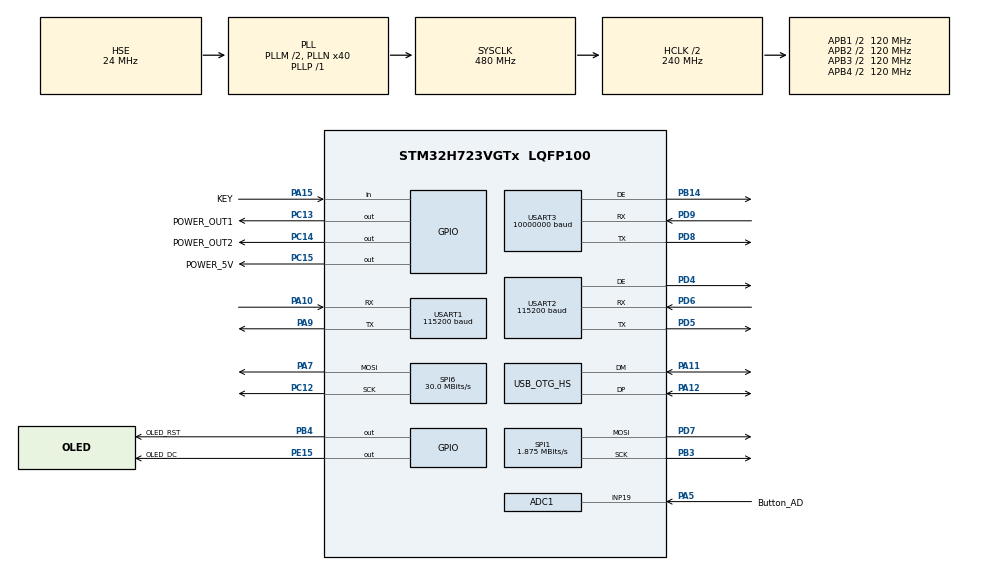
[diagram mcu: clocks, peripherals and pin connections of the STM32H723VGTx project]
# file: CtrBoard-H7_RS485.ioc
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ADC1.Channel-0\#ChannelRegularConversion=ADC_CHANNEL_19
ADC1.NbrOfConversionFlag=1
ADC1.OffsetNumber-0\#ChannelRegularConversion=ADC_OFFSET_NONE
ADC1.OffsetSignedSaturation-0\#ChannelRegularConversion=DISABLE
ADC1.Rank-0\#ChannelRegularConversion=1
ADC1.SamplingTime-0\#ChannelRegularConversion=ADC_SAMPLETIME_1CYCLE_5
ADC1.master=1
Mcu.Family=STM32H7
Mcu.Name=STM32H723VGTx
Mcu.Package=LQFP100
NVIC.OTG_HS_IRQn=true\:0\:0\:false\:false\:true\:false\:true\:true
NVIC.PriorityGroup=NVIC_PRIORITYGROUP_4
NVIC.USART1_IRQn=true\:0\:0\:false\:false\:true\:true\:true\:true
NVIC.USART2_IRQn=true\:1\:0\:true\:false\:true\:true\:true\:true
NVIC.USART3_IRQn=true\:2\:0\:true\:false\:true\:true\:true\:true
PA10.Mode=Asynchronous
PA10.Signal=USART1_RX
PA11.Mode=Device_Only_FS
PA11.Signal=USB_OTG_HS_DM
PA12.Mode=Device_Only_FS
PA12.Signal=USB_OTG_HS_DP
PA13(JTMS/SWDIO).Mode=Serial_Wire
PA13(JTMS/SWDIO).Signal=DEBUG_JTMS-SWDIO
PA14(JTCK/SWCLK).Mode=Serial_Wire
PA14(JTCK/SWCLK).Signal=DEBUG_JTCK-SWCLK
PA15(JTDI).GPIO_Label=KEY
PA15(JTDI).Signal=GPIO_Input
PA5.GPIO_Label=Button_AD
PA5.Signal=ADCx_INP19
PA7.Mode=TX_Only_Simplex_Unidirect_Master
PA7.Signal=SPI6_MOSI
PA9.Mode=Asynchronous
PA9.Signal=USART1_TX
PB14.Mode=Hardware Flow Control (RS485)
PB14.Signal=USART3_DE
PB3(JTDO/TRACESWO).Mode=TX_Only_Simplex_Unidirect_Master
PB3(JTDO/TRACESWO).Signal=SPI1_SCK
PB4(NJTRST).GPIO_Label=OLED_RST
PB4(NJTRST).Signal=GPIO_Output
PC12.Mode=TX_Only_Simplex_Unidirect_Master
PC12.Signal=SPI6_SCK
PC13.GPIO_Label=POWER_OUT1
PC13.PinState=GPIO_PIN_SET
PC13.Signal=GPIO_Output
PC14-OSC32_IN.GPIO_Label=POWER_OUT2
PC14-OSC32_IN.PinState=GPIO_PIN_SET
PC14-OSC32_IN.Signal=GPIO_Output
PC15-OSC32_OUT.GPIO_Label=POWER_5V
PC15-OSC32_OUT.PinState=GPIO_PIN_SET
PC15-OSC32_OUT.Signal=GPIO_Output
PD4.Mode=Hardware Flow Control (RS485)
PD4.Signal=USART2_DE
PD5.Mode=Asynchronous
PD5.Signal=USART2_TX
PD6.Mode=Asynchronous
PD6.Signal=USART2_RX
PD7.Mode=TX_Only_Simplex_Unidirect_Master
PD7.Signal=SPI1_MOSI
PD8.Mode=Asynchronous
PD8.Signal=USART3_TX
PD9.Mode=Asynchronous
PD9.Signal=USART3_RX
PE15.GPIO_Label=OLED_DC
PE15.Signal=GPIO_Output
PH0-OSC_IN.Mode=HSE-External-Oscillator
PH0-OSC_IN.Signal=RCC_OSC_IN
PH1-OSC_OUT.Mode=HSE-External-Oscillator
PH1-OSC_OUT.Signal=RCC_OSC_OUT
ProjectManager.HeapSize=0x200
ProjectManager.StackSize=0x800
ProjectManager.TargetToolchain=MDK-ARM V5.27
RCC.ADCFreq_Value=96000000
RCC.APB1Freq_Value=120000000
RCC.APB2Freq_Value=120000000
RCC.APB3Freq_Value=120000000
RCC.APB4Freq_Value=120000000
RCC.CortexFreq_Value=480000000
RCC.D1PPRE=RCC_APB3_DIV2
RCC.D2PPRE1=RCC_APB1_DIV2
RCC.D2PPRE2=RCC_APB2_DIV2
RCC.D3PPRE=RCC_APB4_DIV2
RCC.DIVM1=2
RCC.DIVM2=2
RCC.DIVN1=40
RCC.DIVN2=16
RCC.DIVP1=1
RCC.DIVQ1=4
RCC.HCLKFreq_Value=240000000
RCC.HPRE=RCC_HCLK_DIV2
RCC.HSE_VALUE=24000000
RCC.PLL2FRACN=0
RCC.PLL3FRACN=0
RCC.PLLFRACN=0
RCC.PLLSourceVirtual=RCC_PLLSOURCE_HSE
RCC.SYSCLKFreq_VALUE=480000000
RCC.SYSCLKSource=RCC_SYSCLKSOURCE_PLLCLK
RCC.USBCLockSelection=RCC_USBCLKSOURCE_HSI48
RCC.USBFreq_Value=48000000
SH.ADCx_INP19.0=ADC1_INP19,IN19-Single-Ended
SPI1.BaudRatePrescaler=SPI_BAUDRATEPRESCALER_64
SPI1.CalculateBaudRate=1.875 MBits/s
SPI1.DataSize=SPI_DATASIZE_8BIT
SPI1.Direction=SPI_DIRECTION_2LINES_TXONLY
SPI1.Mode=SPI_MODE_MASTER
SPI1.VirtualType=VM_MASTER
SPI6.BaudRatePrescaler=SPI_BAUDRATEPRESCALER_4
SPI6.CLKPhase=SPI_PHASE_2EDGE
SPI6.CalculateBaudRate=30.0 MBits/s
SPI6.DataSize=SPI_DATASIZE_8BIT
SPI6.Direction=SPI_DIRECTION_2LINES_TXONLY
SPI6.Mode=SPI_MODE_MASTER
SPI6.VirtualType=VM_MASTER
USART1.BaudRate=115200
USART1.VirtualMode-Asynchronous=VM_ASYNC
USART2.BaudRate=115200
USART2.OverSampling=UART_OVERSAMPLING_8
USART2.VirtualMode-Asynchronous=VM_ASYNC
USART2.VirtualMode-Hardware\ Flow\ Control\ (RS485)=VM_ASYNC
USART3.BaudRate=10000000
USART3.OverSampling=UART_OVERSAMPLING_8
USART3.VirtualMode-Asynchronous=VM_ASYNC
USART3.VirtualMode-Hardware\ Flow\ Control\ (RS485)=VM_ASYNC
USB_DEVICE.CLASS_NAME_HS=CDC
USB_DEVICE.VirtualMode=Cdc
USB_DEVICE.VirtualModeHS=Cdc_HS
USB_OTG_HS.VirtualMode-Device_Only_FS=Device_Only_FS
VP_MEMORYMAP_VS_MEMORYMAP.Mode=CurAppReg
VP_USB_DEVICE_VS_USB_DEVICE_CDC_HS.Mode=CDC_HS
board=custom

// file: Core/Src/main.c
/* USER CODE BEGIN Header */
/**
  ******************************************************************************
  * @file           : main.c
  * @brief          : Main program body
  ******************************************************************************
  * @attention
  *
  * Copyright (c) 2024 STMicroelectronics.
  * All rights reserved.
  *
  * This software is licensed under terms that can be found in the LICENSE file
  * in the root directory of this software component.
  * If no LICENSE file comes with this software, it is provided AS-IS.
  *
  ******************************************************************************
  */
/* USER CODE END Header */
#include "main.h"
#include "adc.h"
#include "spi.h"
#include "usart.h"
#include "usb_device.h"
#include "gpio.h"

/* USER CODE BEGIN Includes */
#include <string.h>
#include "oled.h"
#include "ui.h"
#include "emm_motor.h"
#include "ws2812.h"
/* USER CODE END Includes */

void SystemClock_Config(void);

/* USER CODE BEGIN 0 */

void HAL_UART_RxCpltCallback(UART_HandleTypeDef *huart)
{
    EmmMotor_UART_RxCpltCallback(huart);
}

void HAL_UART_ErrorCallback(UART_HandleTypeDef *huart)
{
    EmmMotor_UART_ErrorCallback(huart);
}
/* USER CODE END 0 */

int main(void)
{

  /* MCU Configuration--------------------------------------------------------*/

  /* Reset of all peripherals, Initializes the Flash interface and the Systick. */
  HAL_Init();

  /* Configure the system clock */
  SystemClock_Config();

  /* Initialize all configured peripherals */
  MX_GPIO_Init();
  MX_USART2_UART_Init();
  MX_USART3_UART_Init();
  MX_USART1_UART_Init();
  MX_ADC1_Init();
  MX_SPI1_Init();
  MX_SPI6_Init();
  MX_USB_DEVICE_Init();
  /* USER CODE BEGIN 2 */
  oled_init();
  ButtonAD_Init();
  UI_Init(0);
  EmmMotor_Init(&huart2, 1U);
  /* USER CODE END 2 */

  /* Infinite loop */
  while (1)
  {

    /* USER CODE BEGIN 3 */
    uint32_t now_ms = HAL_GetTick();
    ButtonAD_Key_t key_now = ButtonAD_GetEvent();
    {
        static uint8_t s_key_last = 0U;
        static uint32_t s_key_change_ms = 0U;
        static uint8_t s_key_armed = 1U;
        uint8_t key_now_gpio = (HAL_GPIO_ReadPin(KEY_GPIO_Port, KEY_Pin) == GPIO_PIN_SET) ? 1U : 0U;

        if (key_now_gpio != s_key_last)
        {
            s_key_last = key_now_gpio;
            s_key_change_ms = now_ms;
        }

        /* Debounce + rising edge */
        if ((key_now_gpio != 0U) && ((now_ms - s_key_change_ms) >= 20U))
        {
            if (s_key_armed != 0U)
            {
                s_key_armed = 0U;
                WS2812_Ctrl(20, 0, 0);
                HAL_Delay(30);
                WS2812_Ctrl(0, 0, 0);
            }
        }
        if ((key_now_gpio == 0U) && ((now_ms - s_key_change_ms) >= 20U))
        {
            /* Rearm after stable release */
            s_key_armed = 1U;
        }
    }
    EmmMotor_Task(now_ms);
    UI_Task(now_ms, key_now);
  }
  /* USER CODE END 3 */
}

void SystemClock_Config(void)
{
  RCC_OscInitTypeDef RCC_OscInitStruct = {0};
  RCC_ClkInitTypeDef RCC_ClkInitStruct = {0};

  /** Supply configuration update enable
  */
  HAL_PWREx_ConfigSupply(PWR_LDO_SUPPLY);

  /** Configure the main internal regulator output voltage
  */
  __HAL_PWR_VOLTAGESCALING_CONFIG(PWR_REGULATOR_VOLTAGE_SCALE0);

  while(!__HAL_PWR_GET_FLAG(PWR_FLAG_VOSRDY)) {}

  /** Initializes the RCC Oscillators according to the specified parameters
  * in the RCC_OscInitTypeDef structure.
  */
  RCC_OscInitStruct.OscillatorType = RCC_OSCILLATORTYPE_HSI48|RCC_OSCILLATORTYPE_HSE;
  RCC_OscInitStruct.HSEState = RCC_HSE_ON;
  RCC_OscInitStruct.HSI48State = RCC_HSI48_ON;
  RCC_OscInitStruct.PLL.PLLState = RCC_PLL_ON;
  RCC_OscInitStruct.PLL.PLLSource = RCC_PLLSOURCE_HSE;
  RCC_OscInitStruct.PLL.PLLM = 2;
  RCC_OscInitStruct.PLL.PLLN = 40;
  RCC_OscInitStruct.PLL.PLLP = 1;
  RCC_OscInitStruct.PLL.PLLQ = 4;
  RCC_OscInitStruct.PLL.PLLR = 2;
  RCC_OscInitStruct.PLL.PLLRGE = RCC_PLL1VCIRANGE_3;
  RCC_OscInitStruct.PLL.PLLVCOSEL = RCC_PLL1VCOWIDE;
  RCC_OscInitStruct.PLL.PLLFRACN = 0;
  if (HAL_RCC_OscConfig(&RCC_OscInitStruct) != HAL_OK)
  {
    Error_Handler();
  }

  /** Initializes the CPU, AHB and APB buses clocks
  */
  RCC_ClkInitStruct.ClockType = RCC_CLOCKTYPE_HCLK|RCC_CLOCKTYPE_SYSCLK
                              |RCC_CLOCKTYPE_PCLK1|RCC_CLOCKTYPE_PCLK2
                              |RCC_CLOCKTYPE_D3PCLK1|RCC_CLOCKTYPE_D1PCLK1;
  RCC_ClkInitStruct.SYSCLKSource = RCC_SYSCLKSOURCE_PLLCLK;
  RCC_ClkInitStruct.SYSCLKDivider = RCC_SYSCLK_DIV1;
  RCC_ClkInitStruct.AHBCLKDivider = RCC_HCLK_DIV2;
  RCC_ClkInitStruct.APB3CLKDivider = RCC_APB3_DIV2;
  RCC_ClkInitStruct.APB1CLKDivider = RCC_APB1_DIV2;
  RCC_ClkInitStruct.APB2CLKDivider = RCC_APB2_DIV2;
  RCC_ClkInitStruct.APB4CLKDivider = RCC_APB4_DIV2;

  if (HAL_RCC_ClockConfig(&RCC_ClkInitStruct, FLASH_LATENCY_3) != HAL_OK)
  {
    Error_Handler();
  }
}

void Error_Handler(void)
{
  __disable_irq();
  while (1)
  {
  }
}
